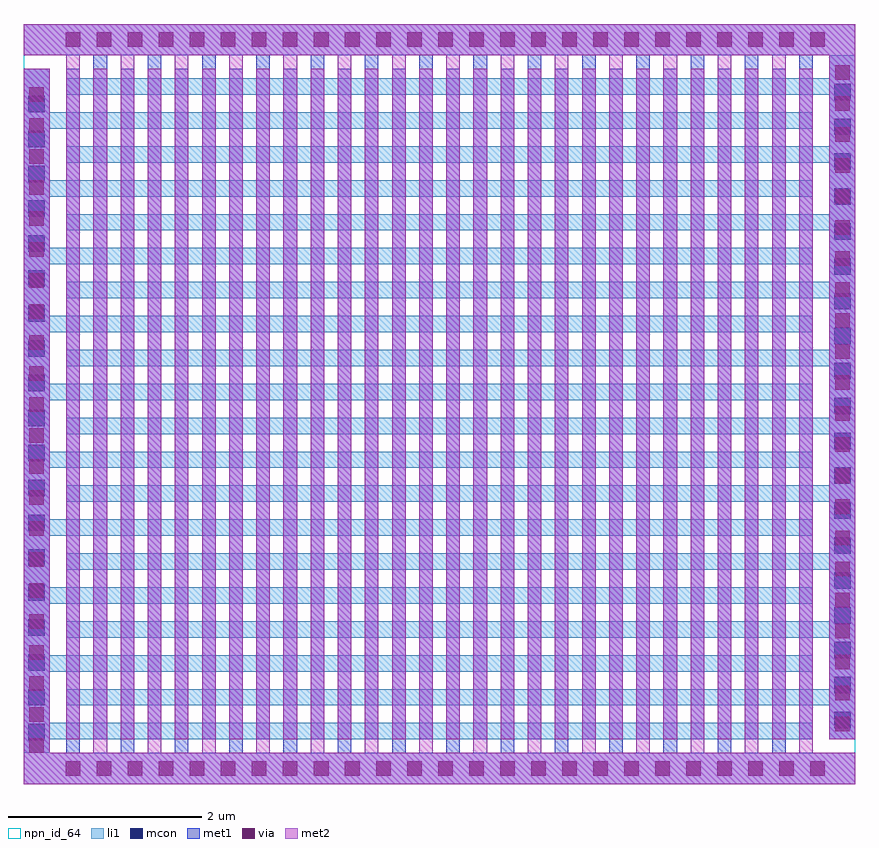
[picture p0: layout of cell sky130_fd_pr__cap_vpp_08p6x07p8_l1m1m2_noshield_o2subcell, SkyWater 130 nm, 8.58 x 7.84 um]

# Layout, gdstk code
import gdstk
lib = gdstk.Library(unit=1e-6, precision=1e-09)
def R(c, l, rs):  # rectangles x0, y0, x1, y1
    for r in rs: c.add(gdstk.rectangle(r[:2], r[2:], *l))
def A(c, l, x, y, w, h, nx, ny, dx, dy):  # array of equal rectangles
    R(c, l, [(x+i*dx, y+j*dy, x+i*dx+w, y+j*dy+h) for i in range(nx) for j in range(ny)])
li1 = (67, 20)
mcon = (67, 44)
met1 = (68, 20)
via = (68, 44)
met2 = (69, 20)
npn_id_64 = (82, 64)

sky130_fd_pr__cap_vpp_08 = lib.new_cell('sky130_fd_pr__cap_vpp_08p6x07p8_l1m1m2_noshield_o2subcell')
A(sky130_fd_pr__cap_vpp_08, li1, 0, 0.46, 8.14, 0.17, 1, 10, 0, 0.7)
A(sky130_fd_pr__cap_vpp_08, li1, 0.44, 0.81, 8.14, 0.17, 1, 10, 0, 0.7)
R(sky130_fd_pr__cap_vpp_08, li1, [(0,0.32,0.27,7.38), (8.31,0.46,8.58,7.52)])
A(sky130_fd_pr__cap_vpp_08, mcon, 0.05, 0.45, 0.17, 0.17, 1, 19, 0, 0.36)
A(sky130_fd_pr__cap_vpp_08, mcon, 8.36, 0.575, 0.17, 0.17, 1, 19, 0, 0.36)
A(sky130_fd_pr__cap_vpp_08, met1, 0.44, 0.32, 0.14, 7.06, 14, 1, 0.56, 0)
A(sky130_fd_pr__cap_vpp_08, met1, 0.72, 0.46, 0.14, 7.06, 14, 1, 0.56, 0)
R(sky130_fd_pr__cap_vpp_08, met1, [(0,0,8.58,0.32), (0,0.32,0.27,7.38), (8.31,0.46,8.58,7.52), (0,7.52,8.58,7.84)])
A(sky130_fd_pr__cap_vpp_08, via, 0.06, 0.32, 0.15, 0.15, 1, 22, 0, 0.32)
A(sky130_fd_pr__cap_vpp_08, via, 8.37, 0.545, 0.15, 0.15, 1, 22, 0, 0.32)
A(sky130_fd_pr__cap_vpp_08, via, 0.435, 7.605, 0.15, 0.15, 25, 1, 0.32, 0)
R(sky130_fd_pr__cap_vpp_08, via, [(0.435,0.085,0.585,0.235), (0.435,0.085,0.585,0.235), (0.755,0.085,0.905,0.235), (0.755,0.085,0.905,0.235), (1.075,0.085,1.225,0.235), (1.075,0.085,1.225,0.235), (1.395,0.085,1.545,0.235), (1.395,0.085,1.545,0.235), (1.715,0.085,1.865,0.235), (1.715,0.085,1.865,0.235), (2.035,0.085,2.185,0.235), (2.035,0.085,2.185,0.235), (2.355,0.085,2.505,0.235), (2.355,0.085,2.505,0.235), (2.675,0.085,2.825,0.235), (2.675,0.085,2.825,0.235), (2.995,0.085,3.145,0.235), (2.995,0.085,3.145,0.235), (3.315,0.085,3.465,0.235), (3.315,0.085,3.465,0.235), (3.635,0.085,3.785,0.235), (3.635,0.085,3.785,0.235), (3.955,0.085,4.105,0.235), (3.955,0.085,4.105,0.235), (4.275,0.085,4.425,0.235), (4.275,0.085,4.425,0.235), (4.595,0.085,4.745,0.235), (4.595,0.085,4.745,0.235), (4.915,0.085,5.065,0.235), (4.915,0.085,5.065,0.235), (5.235,0.085,5.385,0.235), (5.235,0.085,5.385,0.235), (5.555,0.085,5.705,0.235), (5.555,0.085,5.705,0.235), (5.875,0.085,6.025,0.235), (5.875,0.085,6.025,0.235), (6.195,0.085,6.345,0.235), (6.195,0.085,6.345,0.235), (6.515,0.085,6.665,0.235), (6.515,0.085,6.665,0.235), (6.835,0.085,6.985,0.235), (6.835,0.085,6.985,0.235), (7.155,0.085,7.305,0.235), (7.155,0.085,7.305,0.235), (7.475,0.085,7.625,0.235), (7.475,0.085,7.625,0.235), (7.795,0.085,7.945,0.235), (7.795,0.085,7.945,0.235), (8.115,0.085,8.265,0.235), (8.115,0.085,8.265,0.235)])
A(sky130_fd_pr__cap_vpp_08, met2, 0.72, 0.32, 0.14, 7.06, 14, 1, 0.56, 0)
A(sky130_fd_pr__cap_vpp_08, met2, 0.44, 0.46, 0.14, 7.06, 14, 1, 0.56, 0)
R(sky130_fd_pr__cap_vpp_08, met2, [(0,0,8.58,0.32), (0,0.32,0.27,7.38), (8.31,0.46,8.58,7.52), (0,7.52,8.58,7.84)])
R(sky130_fd_pr__cap_vpp_08, npn_id_64, [(0,0,8.58,7.84)])

lib.write_gds('sky130_fd_pr__cap_vpp_08p6x07p8_l1m1m2_noshield_o2subcell.gds')
